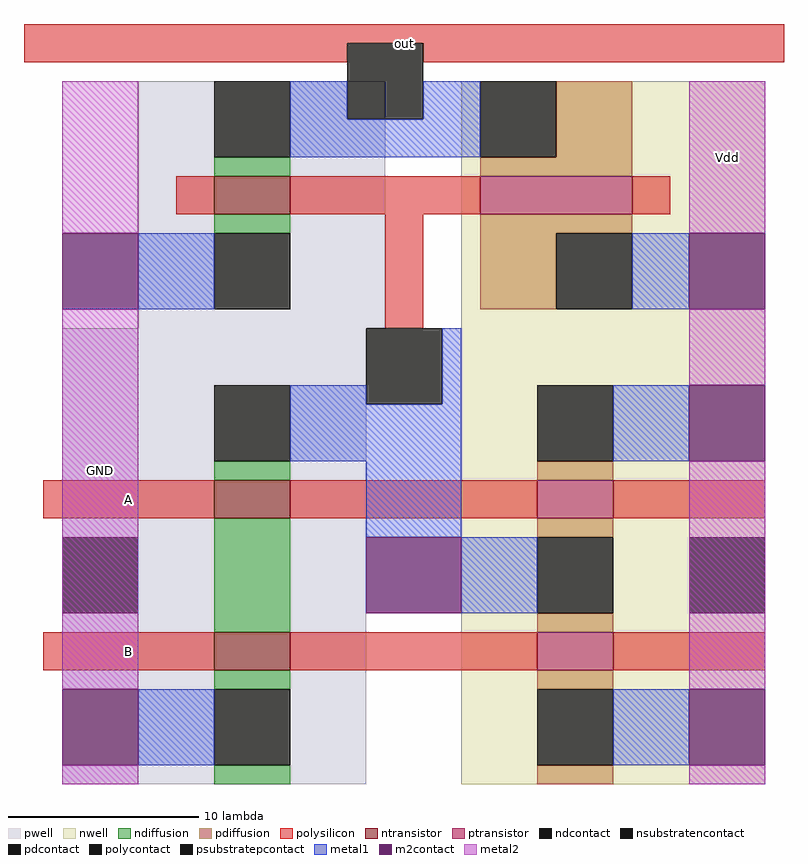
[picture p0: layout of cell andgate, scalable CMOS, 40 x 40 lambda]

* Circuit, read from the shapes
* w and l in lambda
.subckt andgate A B GND Vdd out
M1 n1 B GND VSUBS nfet w=4 l=2
M2 n2 A n1 VSUBS nfet w=4 l=2
M3 out n2 GND VSUBS nfet w=4 l=2
M4 out n2 Vdd n3 pfet w=8 l=2
M5 n2 B Vdd n3 pfet w=4 l=2
M6 Vdd A n2 n3 pfet w=4 l=2
.ends

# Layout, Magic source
magic
tech scmos
<< pwell >>
rect -85 33 -72 46
rect -89 9 -73 33
<< nwell >>
rect -68 9 -52 46
<< polysilicon >>
rect -91 48 -51 49
rect -91 47 -74 48
rect -70 47 -51 48
rect -83 39 -81 41
rect -77 39 -67 41
rect -59 39 -57 41
rect -72 33 -70 39
rect -90 23 -81 25
rect -77 23 -64 25
rect -60 23 -52 25
rect -90 15 -81 17
rect -77 15 -64 17
rect -60 15 -52 17
<< ndiffusion >>
rect -81 41 -77 42
rect -81 38 -77 39
rect -81 25 -77 26
rect -81 17 -77 23
rect -81 14 -77 15
rect -81 9 -77 10
<< pdiffusion >>
rect -63 42 -59 46
rect -67 41 -59 42
rect -67 38 -59 39
rect -67 34 -63 38
rect -64 25 -60 26
rect -64 22 -60 23
rect -64 17 -60 18
rect -64 14 -60 15
rect -64 9 -60 10
<< metal1 >>
rect -77 44 -74 46
rect -70 44 -67 46
rect -77 42 -67 44
rect -85 34 -81 38
rect -59 34 -56 38
rect -77 29 -73 30
rect -69 29 -68 33
rect -77 26 -68 29
rect -60 26 -56 30
rect -73 22 -68 26
rect -68 18 -64 22
rect -85 10 -81 14
rect -60 10 -56 14
<< metal2 >>
rect -89 38 -85 46
rect -89 14 -85 34
rect -56 38 -52 46
rect -56 30 -52 34
rect -89 9 -85 10
rect -56 14 -52 26
rect -56 9 -52 10
<< ntransistor >>
rect -81 39 -77 41
rect -81 23 -77 25
rect -81 15 -77 17
<< ptransistor >>
rect -67 39 -59 41
rect -64 23 -60 25
rect -64 15 -60 17
<< polycontact >>
rect -74 44 -70 48
rect -73 29 -69 33
<< ndcontact >>
rect -81 42 -77 46
rect -81 34 -77 38
rect -81 26 -77 30
rect -81 10 -77 14
<< pdcontact >>
rect -67 42 -63 46
rect -63 34 -59 38
rect -64 26 -60 30
rect -64 18 -60 22
rect -64 10 -60 14
<< m2contact >>
rect -89 34 -85 38
rect -56 34 -52 38
rect -56 26 -52 30
rect -73 18 -68 22
rect -89 10 -85 14
rect -56 10 -52 14
<< psubstratepcontact >>
rect -89 18 -85 22
<< nsubstratencontact >>
rect -56 18 -52 22
<< labels >>
rlabel polysilicon -90 23 -81 25 3 A
rlabel polysilicon -90 15 -81 17 3 B
rlabel metal2 -89 14 -85 37 3 GND
rlabel polysilicon -91 47 -51 49 5 out
rlabel metal2 -56 38 -52 46 7 Vdd
<< end >>
